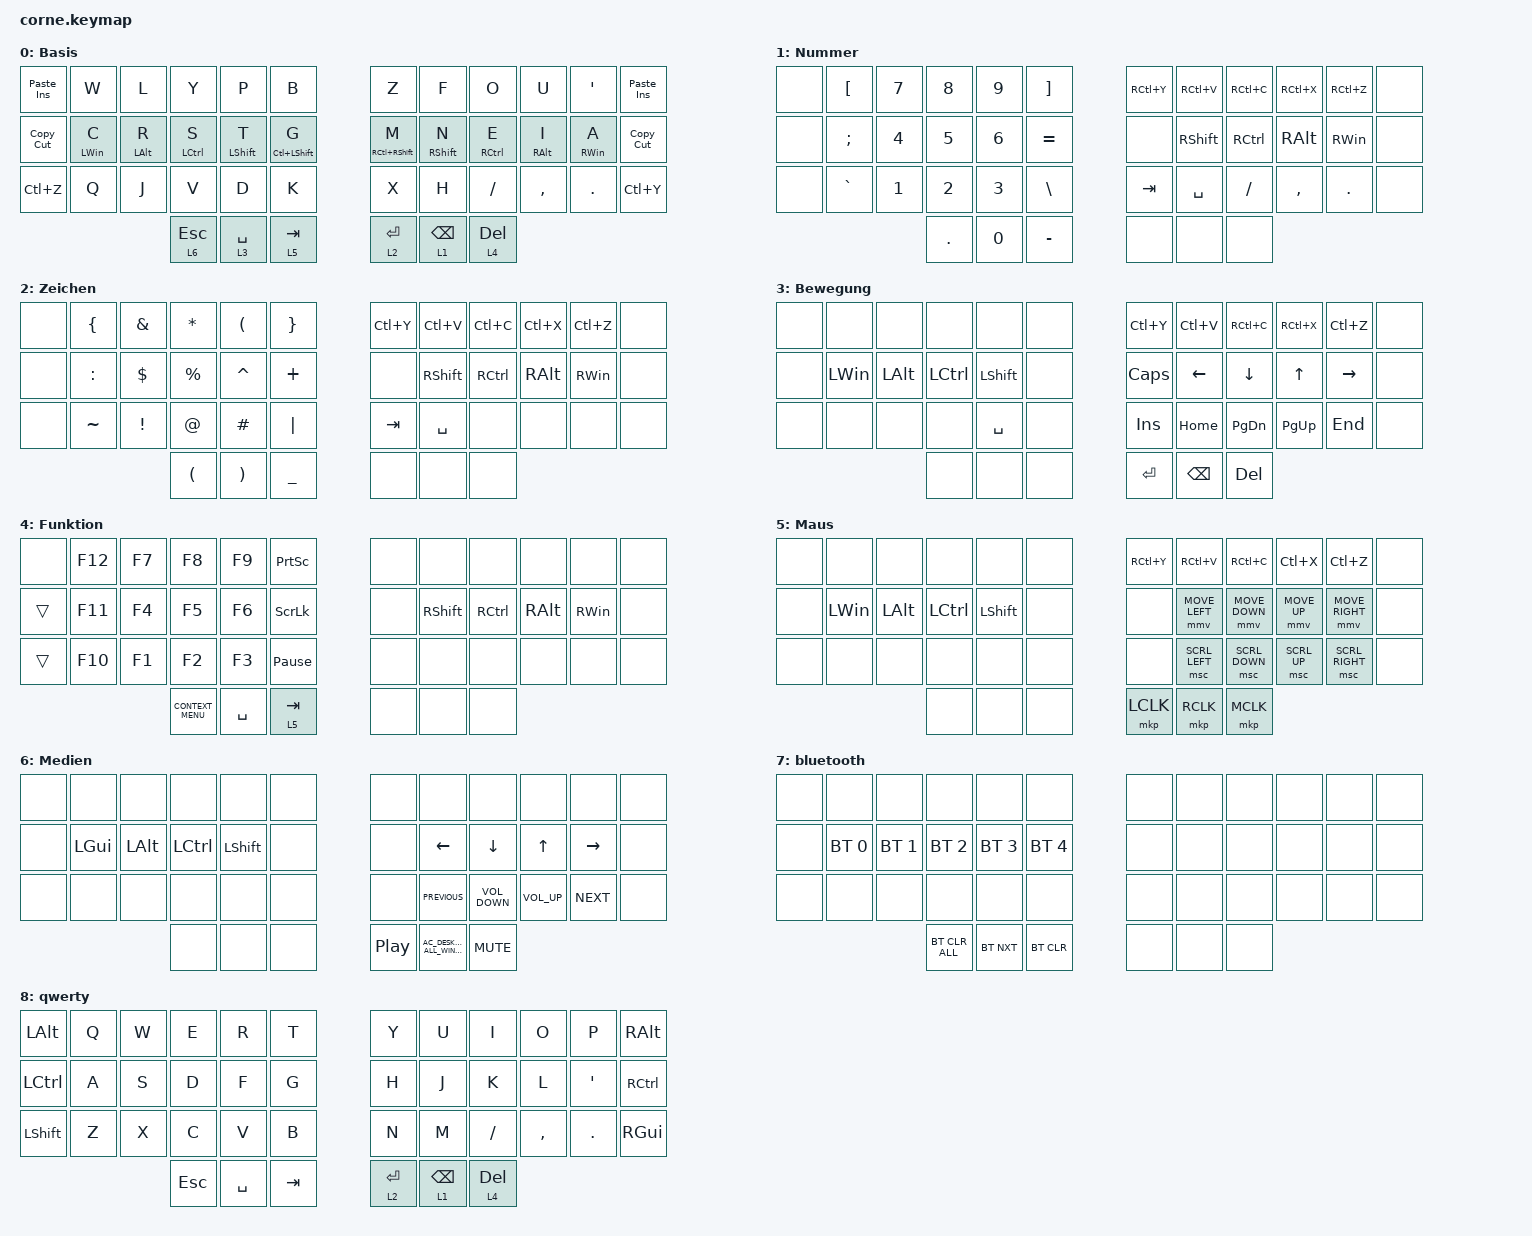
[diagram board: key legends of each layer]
/*
 * Copyright (c) 2020 The ZMK Contributors
 *
 * SPDX-License-Identifier: MIT
 */

#define ZMK_POINTING_DEFAULT_MOVE_VAL 1500  // default: 600
#define ZMK_POINTING_DEFAULT_SCRL_VAL 20    // default: 10

#include <behaviors.dtsi>
#include <dt-bindings/zmk/bt.h>
#include <dt-bindings/zmk/keys.h>
#include <dt-bindings/zmk/pointing.h>

/ {
    behaviors {
        HMR: HMR {
            compatible = "zmk,behavior-hold-tap";
            label = "HMR";
            bindings = <&kp>, <&kp>;

            #binding-cells = <2>;
            tapping-term-ms = <280>;
            quick-tap-ms = <175>;
            flavor = "balanced";
            hold-trigger-key-positions = <0 17 17 29 38 1 2 3 4 5 13 14 15 16 17 25 26 27 28 29 36 37 38 12 24 39 40 41>;
            hold-trigger-on-release;
        };

        HML: HML {
            compatible = "zmk,behavior-hold-tap";
            label = "HML";
            bindings = <&kp>, <&kp>;

            #binding-cells = <2>;
            hold-trigger-key-positions = <6 7 8 9 10 11 18 19 20 21 22 23 30 31 32 33 34 35 39 40 41 38 37 36>;
            hold-trigger-on-release;
            flavor = "balanced";
            tapping-term-ms = <280>;
            quick-tap-ms = <175>;
        };

        Copy_Cut: Copy_Cut {
            compatible = "zmk,behavior-tap-dance";
            label = "COPY_CUT";
            #binding-cells = <0>;
            bindings = <&kp LC(C)>, <&kp LC(X)>;
        };

        Paste_Ins: Paste_Ins {
            compatible = "zmk,behavior-tap-dance";
            label = "PASTE_INS";
            #binding-cells = <0>;
            bindings = <&kp LC(V)>, <&kp INS>;
        };
    };

    combos {
        compatible = "zmk,combos";

        caps_word {
            bindings = <&caps_word>;
            key-positions = <16 19>;
        };

        bluetooth {
            bindings = <&mo 7>;
            key-positions = <39 40 41>;
        };

        move_win {
            bindings = <&kp LG(LS(LEFT_ARROW))>;
            key-positions = <38 39>;
        };

        media_layer {
            bindings = <&to 6>;
            key-positions = <36 37 38>;
            layers = <0>;
        };

        esc {
            bindings = <&kp ESCAPE>;
            key-positions = <39 40>;
            layers = <0>;
        };

        ctrl-tab {
            bindings = <&kp LC(TAB)>;
            key-positions = <34 33>;
            layers = <0>;
        };

        default_layer {
            bindings = <&to 0>;
            key-positions = <38 37 36>;
            layers = <6 8>;
        };

        qwerty {
            bindings = <&to 8>;
            key-positions = <11 23 35>;
            layers = <0>;
        };
    };

    keymap {
        compatible = "zmk,keymap";

        default_layer {
            label = "Basis";
            bindings = <
&Paste_Ins  &kp W            &kp L            &kp Y         &kp P              &kp B                    &kp Z                   &kp F               &kp O         &kp U             &kp SQT           &Paste_Ins
&Copy_Cut   &HML LEFT_WIN C  &HML LEFT_ALT R  &HML LCTRL S  &HML LEFT_SHIFT T  &HML LC(LEFT_SHIFT) G    &HMR RC(RIGHT_SHIFT) M  &HMR RIGHT_SHIFT N  &HMR RCTRL E  &HMR RIGHT_ALT I  &HMR RIGHT_WIN A  &Copy_Cut
&kp LC(Z)   &kp Q            &kp J            &kp V         &kp D              &kp K                    &kp X                   &kp H               &kp SLASH     &kp COMMA         &kp PERIOD        &kp LC(Y)
                                              &lt 6 ESCAPE  &lt 3 SPACE        &lt 5 TAB                &lt 2 ENTER             &lt 1 BACKSPACE     &lt 4 DELETE
            >;
        };

        num {
            // -----------------------------------------------------------------------------------------
            // |  TAB |  1  |  2  |  3  |  4  |  5  |   |  6  |  7  |  8  |  9  |  0  | BKSP |
            // | BTCLR| BT1 | BT2 | BT3 | BT4 | BT5 |   | LFT | DWN |  UP | RGT |     |      |
            // | SHFT |     |     |     |     |     |   |     |     |     |     |     |      |
            //                    | GUI |     | SPC |   | ENT |     | ALT |

            bindings = <
&none  &kp LEFT_BRACKET  &kp N7        &kp N8        &kp N9        &kp RIGHT_BRACKET    &kp RC(Y)  &kp RC(V)        &kp RC(C)  &kp RC(X)      &kp RC(Z)      &none
&none  &kp SEMICOLON     &kp NUMBER_4  &kp N5        &kp NUMBER_6  &kp EQUAL            &none      &kp RIGHT_SHIFT  &kp RCTRL  &kp RIGHT_ALT  &kp RIGHT_WIN  &none
&none  &kp GRAVE         &kp NUMBER_1  &kp NUMBER_2  &kp NUMBER_3  &kp BACKSLASH        &kp TAB    &kp SPACE        &kp SLASH  &kp COMMA      &kp PERIOD     &none
                                       &kp DOT       &kp N0        &kp MINUS            &none      &none            &none
            >;

            label = "Nummer";
        };

        sym {
            // -----------------------------------------------------------------------------------------
            // |  TAB |  !  |  @  |  #  |  $  |  %  |   |  ^  |  &  |  *  |  (  |  )  | BKSP |
            // | CTRL |     |     |     |     |     |   |  -  |  =  |  [  |  ]  |  \  |  `   |
            // | SHFT |     |     |     |     |     |   |  _  |  +  |  {  |  }  | "|" |  ~   |
            //                    | GUI |     | SPC |   | ENT |     | ALT |

            bindings = <
&none  &kp LBRC   &kp AMPS         &kp ASTERISK  &kp LPAR   &kp RBRC     &kp LC(Y)  &kp LC(V)        &kp LC(C)  &kp LC(X)      &kp LC(Z)      &none
&none  &kp COLON  &kp DLLR         &kp PRCNT     &kp CARET  &kp PLUS     &none      &kp RIGHT_SHIFT  &kp RCTRL  &kp RIGHT_ALT  &kp RIGHT_WIN  &none
&none  &kp TILDE  &kp EXCLAMATION  &kp AT        &kp HASH   &kp PIPE     &kp TAB    &kp SPACE        &none      &none          &none          &none
                                   &kp LPAR      &kp RPAR   &kp UNDER    &none      &none            &none
            >;

            label = "Zeichen";
        };

        nav {
            bindings = <
&none  &none         &none         &none      &none           &none    &kp LC(Y)     &kp LC(V)      &kp RC(C)       &kp RC(X)     &kp LC(Z)        &none
&none  &kp LEFT_WIN  &kp LEFT_ALT  &kp LCTRL  &kp LEFT_SHIFT  &none    &kp CAPSLOCK  &kp LEFT       &kp DOWN_ARROW  &kp UP_ARROW  &kp RIGHT_ARROW  &none
&none  &none         &none         &none      &kp SPACE       &none    &kp INS       &kp HOME       &kp PAGE_DOWN   &kp PG_UP     &kp END          &none
                                   &none      &none           &none    &kp ENTER     &kp BACKSPACE  &kp DELETE
            >;

            label = "Bewegung";
        };

        func {
            label = "Funktion";
            bindings = <
&none   &kp F12  &kp F7  &kp F8              &kp F9     &kp PRINTSCREEN    &none  &none            &none      &none          &none          &none
&trans  &kp F11  &kp F4  &kp F5              &kp F6     &kp SCROLLLOCK     &none  &kp RIGHT_SHIFT  &kp RCTRL  &kp RIGHT_ALT  &kp RIGHT_WIN  &none
&trans  &kp F10  &kp F1  &kp F2              &kp F3     &kp PAUSE_BREAK    &none  &none            &none      &none          &none          &none
                         &kp K_CONTEXT_MENU  &kp SPACE  &lt 5 TAB          &none  &none            &none
            >;
        };

        mouse {
            bindings = <
&none  &none         &none         &none      &none           &none    &kp RC(Y)  &kp RC(V)       &kp RC(C)       &kp LC(X)     &kp LC(Z)        &none
&none  &kp LEFT_WIN  &kp LEFT_ALT  &kp LCTRL  &kp LEFT_SHIFT  &none    &none      &mmv MOVE_LEFT  &mmv MOVE_DOWN  &mmv MOVE_UP  &mmv MOVE_RIGHT  &none
&none  &none         &none         &none      &none           &none    &none      &msc SCRL_LEFT  &msc SCRL_DOWN  &msc SCRL_UP  &msc SCRL_RIGHT  &none
                                   &none      &none           &none    &mkp LCLK  &mkp RCLK       &mkp MCLK
            >;

            label = "Maus";
        };

        media {
            bindings = <
&none  &none         &none         &none      &none           &none    &none             &none                              &none              &none            &none            &none
&none  &kp LEFT_GUI  &kp LEFT_ALT  &kp LCTRL  &kp LEFT_SHIFT  &none    &none             &kp LEFT_ARROW                     &kp DOWN_ARROW     &kp UP_ARROW     &kp RIGHT_ARROW  &none
&none  &none         &none         &none      &none           &none    &none             &kp C_PREVIOUS                     &kp C_VOLUME_DOWN  &kp C_VOLUME_UP  &kp C_NEXT       &none
                                   &none      &none           &none    &kp C_PLAY_PAUSE  &kp C_AC_DESKTOP_SHOW_ALL_WINDOWS  &kp C_MUTE
            >;

            label = "Medien";
        };

        bluetooth {
            bindings = <
&none  &none         &none         &none           &none         &none           &none  &none  &none  &none  &none  &none
&none  &bt BT_SEL 0  &bt BT_SEL 1  &bt BT_SEL 2    &bt BT_SEL 3  &bt BT_SEL 4    &none  &none  &none  &none  &none  &none
&none  &none         &none         &none           &none         &none           &none  &none  &none  &none  &none  &none
                                   &bt BT_CLR_ALL  &bt BT_NXT    &bt BT_CLR      &none  &none  &none
            >;

            label = "bluetooth";
        };

        qwerty {
            bindings = <
&kp LALT   &kp Q  &kp W  &kp E    &kp R      &kp T      &kp Y        &kp U            &kp I         &kp O      &kp P     &kp RIGHT_ALT
&kp LCTRL  &kp A  &kp S  &kp D    &kp F      &kp G      &kp H        &kp J            &kp K         &kp L      &kp APOS  &kp RCTRL
&kp LSHFT  &kp Z  &kp X  &kp C    &kp V      &kp B      &kp N        &kp M            &kp FSLH      &kp COMMA  &kp DOT   &kp RGUI
                         &kp ESC  &kp SPACE  &kp TAB    &lt 2 ENTER  &lt 1 BACKSPACE  &lt 4 DELETE
            >;

            label = "qwerty";
        };
    };
};
